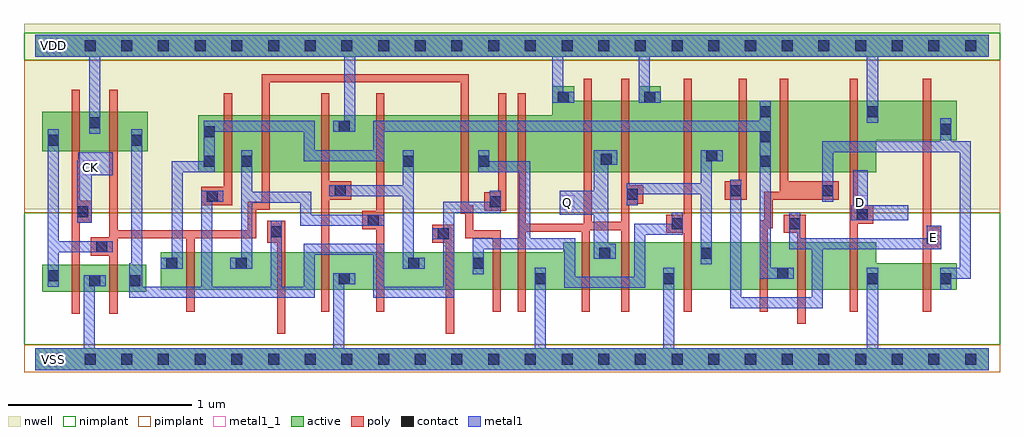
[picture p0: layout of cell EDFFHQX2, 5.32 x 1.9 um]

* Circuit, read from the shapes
.subckt EDFFHQX2 CK D E Q VDD VSS
M1 VSS CK n1 VSS nfet w=0.145u l=0.045u
M2 n2 n1 VSS VSS nfet w=0.145u l=0.045u
M3 n3 n1 n4 VSS nfet w=0.205u l=0.045u
M4 n5 n2 n3 VSS nfet w=0.205u l=0.045u
M5 VSS n6 n5 VSS nfet w=0.205u l=0.045u
M6 n6 n3 VSS VSS nfet w=0.205u l=0.045u
M7 n7 n2 n6 VSS nfet w=0.205u l=0.045u
M8 n8 n1 n7 VSS nfet w=0.205u l=0.045u
M9 VSS n9 n8 VSS nfet w=0.205u l=0.045u
M10 Q n9 VSS VSS nfet w=0.26u l=0.045u m=2
M11 n9 n7 VSS VSS nfet w=0.26u l=0.045u
M12 n4 n10 n9 VSS nfet w=0.26u l=0.045u
M13 n11 E n4 VSS nfet w=0.26u l=0.045u
M14 VSS D n11 VSS nfet w=0.26u l=0.045u
M15 n10 E VSS VSS nfet w=0.145u l=0.045u
M16 VDD CK n1 VDD pfet w=0.215u l=0.045u
M17 n2 n1 VDD VDD pfet w=0.215u l=0.045u
M18 n3 n2 n4 VDD pfet w=0.31u l=0.045u
M19 n12 n1 n3 VDD pfet w=0.31u l=0.045u
M20 VDD n6 n12 VDD pfet w=0.31u l=0.045u
M21 n6 n3 VDD VDD pfet w=0.31u l=0.045u
M22 n7 n1 n6 VDD pfet w=0.31u l=0.045u
M23 n13 n2 n7 VDD pfet w=0.31u l=0.045u
M24 VDD n9 n13 VDD pfet w=0.31u l=0.045u
M25 Q n9 VDD VDD pfet w=0.39u l=0.045u m=2
M26 n9 n7 VDD VDD pfet w=0.39u l=0.045u
M27 n4 E n9 VDD pfet w=0.39u l=0.045u
M28 n14 n10 n4 VDD pfet w=0.39u l=0.045u
M29 VDD D n14 VDD pfet w=0.39u l=0.045u
M30 n10 E VDD VDD pfet w=0.215u l=0.045u
.ends

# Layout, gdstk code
import gdstk
lib = gdstk.Library(unit=1e-6, precision=5e-10)
def R(c, l, rs):  # rectangles x0, y0, x1, y1
    for r in rs: c.add(gdstk.rectangle(r[:2], r[2:], *l))
def A(c, l, x, y, w, h, nx, ny, dx, dy):  # array of equal rectangles
    R(c, l, [(x+i*dx, y+j*dy, x+i*dx+w, y+j*dy+h) for i in range(nx) for j in range(ny)])
def P(c, l, *ps):  # polygons
    for p in ps: c.add(gdstk.Polygon(p, *l))
active = (1, 0)
nwell = (2, 0)
poly = (3, 0)
nimplant = (4, 0)
pimplant = (5, 0)
contact = (6, 0)
metal1 = (7, 0)
metal1_1 = (7, 1)

edffhqx2 = lib.new_cell('EDFFHQX2')
R(edffhqx2, active, [(0,-0.06,5.2,0.06), (0.04,0.37,0.605,0.515), (0.04,1.135,0.615,1.35), (0,1.65,5.2,1.77)])
P(edffhqx2, active, [(2.82,1.49),(2.94,1.49),(2.94,1.41),(3.29,1.41),(3.29,1.49),(3.41,1.49),(3.41,1.41),(5.025,1.41),(5.025,1.195),(4.585,1.195),(4.585,1.02),(0.89,1.02),(0.89,1.33),(2.82,1.33)],
  [(2.88,0.64),(4.585,0.64),(4.585,0.525),(5.025,0.525),(5.025,0.38),(0.685,0.38),(0.685,0.585),(2.88,0.585)])
R(edffhqx2, nwell, [(-0.06,0.82,5.26,1.83)])
P(edffhqx2, poly, [(1.235,1.555),(2.365,1.555),(2.365,0.84),(2.39,0.84),(2.39,0.705),(2.54,0.705),(2.54,0.26),(2.495,0.26),(2.495,0.66),(2.345,0.66),(2.345,0.795),(2.32,0.795),(2.32,1.51),(1.28,1.51),(1.28,0.815),(1.205,0.815),(1.205,0.66),(0.87,0.66),(0.87,0.26),(0.825,0.26),(0.825,0.66),(0.45,0.66),(0.45,0.25),(0.405,0.25),(0.405,0.565),(0.305,0.565),(0.305,0.665),(0.405,0.665),(0.405,1.47),(0.45,1.47),(0.45,0.705),(1.16,0.705),(1.16,0.86),(1.235,0.86)],
  [(1.03,1.45),(1.075,1.45),(1.075,0.84),(0.905,0.84),(0.905,0.94),(1.03,0.94)],
  [(1.56,1.45),(1.605,1.45),(1.605,0.97),(1.725,0.97),(1.725,0.87),(1.605,0.87),(1.605,0.26),(1.56,0.26)],
  [(1.86,1.45),(1.905,1.45),(1.905,0.26),(1.86,0.26),(1.86,0.71),(1.785,0.71),(1.785,0.81),(1.86,0.81)],
  [(2.525,1.45),(2.57,1.45),(2.57,0.81),(2.45,0.81),(2.45,0.91),(2.525,0.91)],
  [(2.63,1.45),(2.675,1.45),(2.675,0.74),(2.99,0.74),(2.99,1.53),(3.035,1.53),(3.035,0.75),(3.195,0.75),(3.195,1.53),(3.24,1.53),(3.24,0.95),(3.315,0.95),(3.315,0.85),(3.24,0.85),(3.24,0.26),(3.195,0.26),(3.195,0.705),(3.025,0.705),(3.025,0.26),(2.98,0.26),(2.98,0.695),(2.675,0.695),(2.675,0.26),(2.63,0.26)],
  [(0.2,1.47),(0.245,1.47),(0.245,0.865),(0.31,0.865),(0.31,0.745),(0.245,0.745),(0.245,0.25),(0.2,0.25)],
  [(3.535,1.53),(3.58,1.53),(3.58,0.26),(3.535,0.26),(3.535,0.69),(3.44,0.69),(3.44,0.79),(3.535,0.79)],
  [(3.835,1.53),(3.88,1.53),(3.88,0.87),(3.76,0.87),(3.76,0.97),(3.835,0.97)],
  [(4.06,1.53),(4.105,1.53),(4.105,0.97),(4.38,0.97),(4.38,0.87),(4.02,0.87),(4.02,0.715),(3.995,0.715),(3.995,0.26),(3.95,0.26),(3.95,0.76),(3.975,0.76),(3.975,0.915),(4.06,0.915)],
  [(4.44,1.53),(4.485,1.53),(4.485,0.84),(4.57,0.84),(4.57,0.74),(4.485,0.74),(4.485,0.26),(4.44,0.26)],
  [(4.84,1.53),(4.885,1.53),(4.885,0.72),(4.94,0.72),(4.94,0.6),(4.885,0.6),(4.885,0.26),(4.84,0.26)],
  [(1.265,0.755),(1.365,0.755),(1.365,0.14),(1.32,0.14),(1.32,0.635),(1.265,0.635)],
  [(2.165,0.735),(2.285,0.735),(2.285,0.14),(2.24,0.14),(2.24,0.635),(2.165,0.635)],
  [(4.08,0.79),(4.2,0.79),(4.2,0.195),(4.155,0.195),(4.155,0.69),(4.08,0.69)])
R(edffhqx2, nimplant, [(-0.06,0.08,5.26,0.8), (-0.06,1.63,5.26,1.78)])
R(edffhqx2, pimplant, [(-0.06,-0.07,5.26,0.08), (-0.06,0.8,5.26,1.63)])
A(edffhqx2, contact, 0.07, -0.03, 0.06, 0.06, 26, 2, 0.2, 1.71)
A(edffhqx2, contact, 3.95, 1.05, 0.06, 0.06, 1, 3, 0, 0.135)
R(edffhqx2, contact, [(0.295,0.4,0.355,0.46), (0.515,0.4,0.575,0.46), (1.655,0.41,1.715,0.47), (2.725,0.41,2.785,0.47), (3.425,0.41,3.485,0.47), (4.535,0.41,4.595,0.47), (4.935,0.41,4.995,0.47), (0.07,0.425,0.13,0.485), (4.045,0.44,4.105,0.5), (0.715,0.495,0.775,0.555), (1.095,0.495,1.155,0.555), (2.035,0.495,2.095,0.555), (2.385,0.495,2.445,0.555), (3.075,0.55,3.135,0.61), (3.63,0.55,3.69,0.61), (0.335,0.585,0.395,0.645), (4.86,0.63,4.92,0.69), (2.195,0.655,2.255,0.715), (1.285,0.665,1.345,0.725), (3.47,0.71,3.53,0.77), (4.11,0.71,4.17,0.77), (1.815,0.73,1.875,0.79), (4.48,0.76,4.54,0.82), (0.23,0.775,0.29,0.835), (2.48,0.83,2.54,0.89), (0.935,0.86,0.995,0.92), (3.225,0.87,3.285,0.93), (1.635,0.89,1.695,0.95), (3.79,0.89,3.85,0.95), (4.29,0.89,4.35,0.95), (0.92,1.05,0.98,1.11), (1.125,1.05,1.185,1.11), (2.005,1.05,2.065,1.11), (2.415,1.05,2.475,1.11), (3.085,1.06,3.145,1.12), (3.66,1.08,3.72,1.14), (0.07,1.165,0.13,1.225), (0.525,1.165,0.585,1.225), (0.92,1.21,0.98,1.27), (4.935,1.225,4.995,1.285), (1.655,1.24,1.715,1.3), (0.295,1.26,0.355,1.32), (4.535,1.32,4.595,1.38), (2.85,1.4,2.91,1.46), (3.32,1.4,3.38,1.46)])
P(edffhqx2, metal1, [(0,1.77),(5.2,1.77),(5.2,1.65),(4.595,1.65),(4.595,1.29),(4.535,1.29),(4.535,1.65),(3.35,1.65),(3.35,1.46),(3.41,1.46),(3.41,1.4),(3.29,1.4),(3.29,1.65),(2.88,1.65),(2.88,1.46),(2.94,1.46),(2.94,1.4),(2.82,1.4),(2.82,1.65),(1.745,1.65),(1.745,1.24),(1.625,1.24),(1.625,1.3),(1.685,1.3),(1.685,1.65),(0.355,1.65),(0.355,1.23),(0.295,1.23),(0.295,1.65),(0,1.65)],
  [(0.07,1.255),(0.13,1.255),(0.13,0.645),(0.425,0.645),(0.425,0.585),(0.13,0.585),(0.13,0.395),(0.07,0.395)],
  [(3.95,1.41),(4.01,1.41),(4.01,0.5),(4.135,0.5),(4.135,0.44),(3.95,0.44),(3.95,1.24),(1.905,1.24),(1.905,1.08),(1.465,1.08),(1.465,1.24),(0.98,1.24),(0.98,1.02),(0.805,1.02),(0.805,0.495),(0.685,0.495),(0.685,0.555),(0.745,0.555),(0.745,1.08),(0.92,1.08),(0.92,1.3),(1.525,1.3),(1.525,1.14),(1.845,1.14),(1.845,1.3),(3.95,1.3)],
  [(0.525,1.255),(0.585,1.255),(0.585,0.395),(0.905,0.395),(0.905,0.92),(1.025,0.92),(1.025,0.86),(0.965,0.86),(0.965,0.395),(1.285,0.395),(1.285,0.755),(1.345,0.755),(1.345,0.395),(1.465,0.395),(1.465,0.63),(1.905,0.63),(1.905,0.395),(2.225,0.395),(2.225,0.655),(2.165,0.655),(2.165,0.715),(2.225,0.715),(2.225,0.86),(2.48,0.86),(2.48,0.92),(2.54,0.92),(2.54,0.8),(2.285,0.8),(2.285,0.335),(1.845,0.335),(1.845,0.57),(1.525,0.57),(1.525,0.335),(0.515,0.335),(0.515,0.525),(0.525,0.525)],
  [(0.235,1.13),(0.425,1.13),(0.425,1.005),(0.31,1.005),(0.31,0.745),(0.23,0.745),(0.23,1.085),(0.235,1.085)],
  [(1.125,1.14),(1.185,1.14),(1.185,0.915),(1.505,0.915),(1.505,0.79),(1.905,0.79),(1.905,0.73),(1.445,0.73),(1.445,0.855),(1.185,0.855),(1.185,0.495),(1.065,0.495),(1.065,0.555),(1.125,0.555)],
  [(2.005,1.14),(2.065,1.14),(2.065,0.555),(2.125,0.555),(2.125,0.495),(2.005,0.495),(2.005,0.89),(1.605,0.89),(1.605,0.95),(2.005,0.95)],
  [(2.415,1.14),(2.475,1.14),(2.475,1.08),(2.7,1.08),(2.7,0.66),(2.945,0.66),(2.945,0.45),(3.265,0.45),(3.265,0.74),(3.47,0.74),(3.47,0.8),(3.53,0.8),(3.53,0.68),(3.325,0.68),(3.325,0.39),(2.885,0.39),(2.885,0.6),(2.445,0.6),(2.445,0.465),(2.385,0.465),(2.385,0.66),(2.64,0.66),(2.64,1.02),(2.415,1.02)],
  [(0.265,0.46),(0.385,0.46),(0.385,0.4),(0.325,0.4),(0.325,0.06),(1.625,0.06),(1.625,0.47),(1.745,0.47),(1.745,0.41),(1.685,0.41),(1.685,0.06),(2.725,0.06),(2.725,0.5),(2.785,0.5),(2.785,0.06),(3.425,0.06),(3.425,0.5),(3.485,0.5),(3.485,0.06),(4.535,0.06),(4.535,0.5),(4.595,0.5),(4.595,0.06),(5.2,0.06),(5.2,-0.06),(0,-0.06),(0,0.06),(0.265,0.06)],
  [(3.045,1.14),(3.175,1.14),(3.175,1.06),(3.125,1.06),(3.125,0.63),(3.165,0.63),(3.165,0.55),(3.045,0.55),(3.045,0.79),(2.86,0.79),(2.86,0.92),(3.045,0.92)],
  [(3.63,1.14),(3.75,1.14),(3.75,1.08),(3.69,1.08),(3.69,0.52),(3.63,0.52),(3.63,0.9),(3.285,0.9),(3.285,0.84),(3.225,0.84),(3.225,0.96),(3.63,0.96)],
  [(4.935,1.315),(4.995,1.315),(4.995,1.19),(5.1,1.19),(5.1,0.44),(4.995,0.44),(4.995,0.38),(4.935,0.38),(4.935,0.5),(5.04,0.5),(5.04,1.13),(4.35,1.13),(4.35,0.86),(4.29,0.86),(4.29,1.19),(4.935,1.19)],
  [(3.79,0.98),(3.85,0.98),(3.85,0.34),(4.235,0.34),(4.235,0.6),(4.11,0.6),(4.11,0.8),(4.17,0.8),(4.17,0.66),(4.86,0.66),(4.86,0.73),(4.94,0.73),(4.94,0.6),(4.295,0.6),(4.295,0.28),(3.79,0.28)],
  [(4.46,1.03),(4.54,1.03),(4.54,0.84),(4.76,0.84),(4.76,0.76),(4.45,0.76),(4.45,0.84),(4.46,0.84)])
R(edffhqx2, metal1_1, [(0.06,-0.04,0.14,0.04), (4.86,0.625,4.94,0.705), (2.86,0.815,2.94,0.895), (4.46,0.815,4.54,0.895), (0.26,1.005,0.34,1.085), (0.06,1.67,0.14,1.75)])
edffhqx2.add(gdstk.Label('Q', (2.9,0.855), layer=7, texttype=1))
edffhqx2.add(gdstk.Label('E', (4.9,0.665), layer=7, texttype=1))
edffhqx2.add(gdstk.Label('D', (4.5,0.855), layer=7, texttype=1))
edffhqx2.add(gdstk.Label('CK', (0.3,1.045), layer=7, texttype=1))
edffhqx2.add(gdstk.Label('VDD', (0.1,1.71), layer=7, texttype=1))
edffhqx2.add(gdstk.Label('VSS', (0.1,0), layer=7, texttype=1))
edffhqx2.add(gdstk.Label('EDFFHQX2', (0,0), layer=63, texttype=0))

lib.write_gds('EDFFHQX2.gds')
